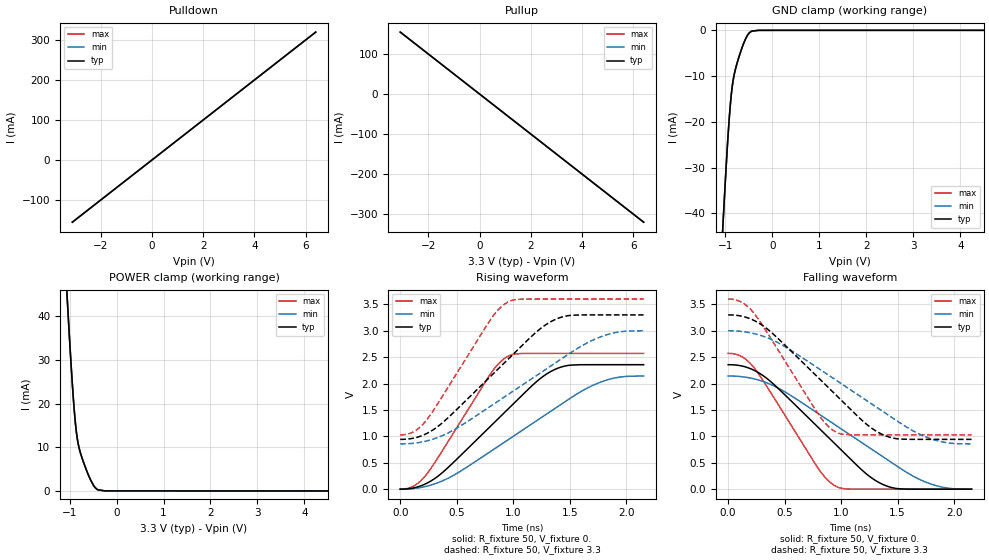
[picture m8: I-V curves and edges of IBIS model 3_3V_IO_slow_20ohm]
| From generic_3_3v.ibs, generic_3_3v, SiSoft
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[Model] 3_3V_IO_slow_20ohm
|SiSoft Include 3_3v.inc
Model_type I/O
|SiSoft Include 3_3v.inc
|C_comp_off 3.002p 2.502p 3.502p
|C_comp_on 3.002p 2.502p 3.502p
C_comp 3.002p 2.502p 3.502p
|SiSoft Rth_i 358.696K 375.001K 346.155K
|SiSoft Rth_r 20.001 20.001 20.001
|SiSoft Rth_f 19.999 19.999 19.999
Vinh = 2
Vinl = 0.8
Cref = 0
Vref = 1.65
Rref = 50
Vmeas = 1.65
|SiSoft spice_param TT Voh 3.3
|SiSoft spice_param SS Voh 3
|SiSoft spice_param FF Voh 3.6
|SiSoft spice_param ALL Vol 0
|SiSoft spice_param ALL R_SERIES 20
|SiSoft spice_param ALL RTERM_IN 1MEG
|SiSoft spice_param TT C_COMP 3pF
|SiSoft spice_param SS C_COMP 3.5pF
|SiSoft spice_param FF C_COMP 2.5pF
|SiSoft spice all testbed.mod tech_io_33
|SiSoft stimulus_rise_time 1.5n 2.0n 1.0n
[Temperature_Range] 25 100 0
[Voltage Range] 3.3 3. 3.6
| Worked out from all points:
|   slope of the pulldown table from 0 to 0.495 V, typ, clamps not added: 20 ohm
|   slope of the pullup table from 0 to 0.495 V, typ, clamps not added: 20 ohm
|   GND clamp passes 1 mA (typ) near -0.52 V on its own axis
|   POWER clamp passes 1 mA (typ) near -0.47 V on its own axis
|   rising waveform, R_fixture 50, V_fixture 0.: 20-80 % time 677ps typ, 902ps min, 452ps max; typ from 0 V to 2.36 V
|   rising waveform, R_fixture 50, V_fixture 3.3: 20-80 % time 677ps typ, 902ps min, 452ps max; typ from 0.943 V to 3.3 V
|   falling waveform, R_fixture 50, V_fixture 0.: 20-80 % time 677ps typ, 902ps min, 452ps max; typ from 2.36 V to 0 V
|   falling waveform, R_fixture 50, V_fixture 3.3: 20-80 % time 677ps typ, 902ps min, 452ps max; typ from 3.3 V to 0.943 V
[Pulldown]
-3.103V   -155.1mA   -155.1mA   -155.1mA
4.647V    232.3mA    232.3mA    232.3mA
4.657V    232.8mA    232.8mA    232.8mA
6.395V    319.7mA    319.7mA    319.7mA
[Pullup]
-3.095V   154.7mA    154.7mA    154.7mA
-2.499V   125mA      125mA      125mA
4.684V    -234.2mA   -234.2mA   -234.2mA
6.403V    -320.1mA   -320.1mA   -320.1mA
[GND Clamp]
-3.103V   -498.1mA   -498.1mA   -498.1mA
-1.056V   -43.44mA   -43.44mA   -43.44mA
-1.049V   -42.03mA   -42.03mA   -42.02mA
-984.4mV  -29.94mA   -29.94mA   -29.95mA
-926.8mV  -20.53mA   -20.54mA   -20.54mA
-883.5mV  -15.02mA   -15.02mA   -15.01mA
-840.3mV  -11.28mA   -11.28mA   -11.27mA
-775.4mV  -8.084mA   -8.083mA   -8.085mA
-638.5mV  -3.603mA   -3.601mA   -3.604mA
-530.4mV  -1.096mA   -1.091mA   -1.1mA
-444mV    -207.2uA   -203.7uA   -208.1uA
6.395V    0A         0A         0A
[Power Clamp]
-3.103V   494.3mA    494.3mA    494.4mA
-1.052V   44.66mA    44.66mA    44.66mA
-973.9mV  30.07mA    30.07mA    30.08mA
-929.1mV  22.68mA    22.67mA    22.69mA
-884.3mV  16.55mA    16.54mA    16.56mA
-839.4mV  12.27mA    12.28mA    12.27mA
-805.8mV  10.27mA    10.27mA    10.27mA
-772.2mV  8.853mA    8.852mA    8.855mA
-637.7mV  4.687mA    4.684mA    4.688mA
-492mV    1.311mA    1.309mA    1.315mA
-402.4mV  286.1uA    282.3uA    286.5uA
6.403V    0A         0A         0A
[Ramp]
dV/dt_r 1.414/676.749p 1.286/902.244p 1.543/451.887p
dV/dt_f 1.414/676.725p 1.286/902.189p 1.543/451.895p
[Rising Waveform]
R_fixture = 50
V_fixture = 0.
0s        28.59uV    28.59uV    28.59uV
120ps     23.71mV    12.93mV    60.81mV
220ps     96.66mV    48.57mV    246.3mV
480ps     525.2mV    271.5mV    1.095V
810ps     1.214V     728.7mV    2.216V
950ps     1.508V     928.5mV    2.512V
1.245ns   2.104V     1.35V      2.571V
1.425ns   2.313V     1.607V     2.571V
1.79ns    2.357V     2.04V      2.571V
2.155ns   2.357V     2.142V     2.571V
[Rising Waveform]
R_fixture = 50
V_fixture = 3.3
V_fixture_min = 3.
V_fixture_max = 3.6
0s        942.8mV    857.1mV    1.029V
120ps     966.5mV    870mV      1.089V
220ps     1.039V     905.7mV    1.275V
480ps     1.468V     1.129V     2.123V
810ps     2.157V     1.586V     3.245V
950ps     2.451V     1.786V     3.541V
1.245ns   3.047V     2.207V     3.6V
1.425ns   3.256V     2.464V     3.6V
1.79ns    3.3V       2.897V     3.6V
2.155ns   3.3V       2.999V     3.6V
[Falling Waveform]
R_fixture = 50
V_fixture = 0.
0s        2.357V     2.143V     2.571V
120ps     2.333V     2.13V      2.511V
220ps     2.26V      2.094V     2.325V
430ps     1.933V     1.929V     1.648V
810ps     1.143V     1.414V     355.1mV
950ps     849.4mV    1.214V     59.14mV
1.245ns   252.5mV    792.9mV    31.07uV
1.425ns   43.98mV    535.8mV    28.59uV
1.785ns   32.77uV    104.1mV    28.59uV
2.155ns   28.59uV    292.6uV    28.59uV
[Falling Waveform]
R_fixture = 50
V_fixture = 3.3
V_fixture_min = 3.
V_fixture_max = 3.6
0s        3.3V       3V         3.6V
120ps     3.276V     2.987V     3.539V
220ps     3.203V     2.951V     3.354V
480ps     2.775V     2.728V     2.505V
810ps     2.086V     2.271V     1.384V
950ps     1.792V     2.071V     1.088V
1.245ns   1.195V     1.65V      1.029V
1.425ns   986.8mV    1.393V     1.029V
1.785ns   942.8mV    961.2mV    1.029V
2.155ns   942.8mV    857.4mV    1.029V
